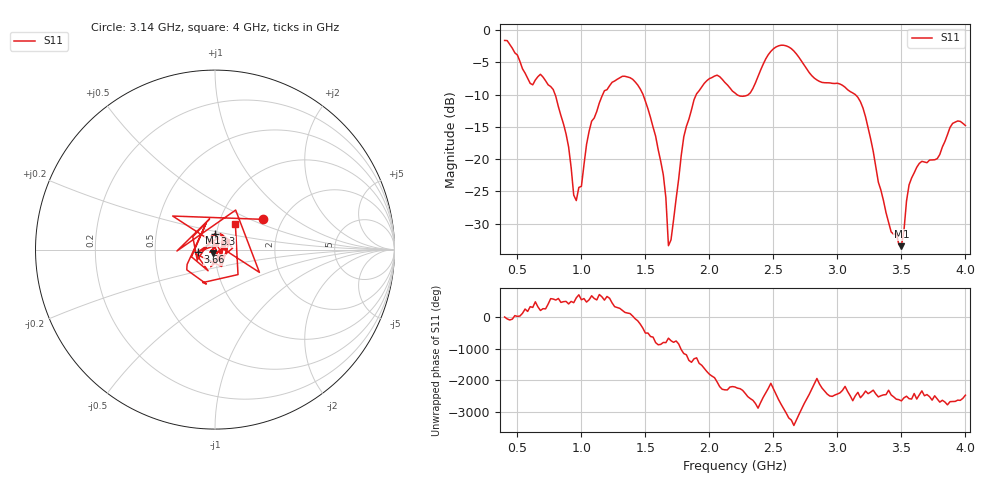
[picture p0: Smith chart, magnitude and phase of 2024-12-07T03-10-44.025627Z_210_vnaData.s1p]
!Created with skrf (http://scikit-rf.org).
# Hz S RI R 50.0
!freq ReS11 ImS11
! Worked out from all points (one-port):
!   181 points, 400 MHz to 4 GHz, reference 50 ohm
!   lowest |S11| = -33.5 dB at 3.5 GHz (marker M1), VSWR 1.04, Z = 48.7 - j1.63 ohm
!   |S11| at or under -10 dB: 794.6 MHz to 1.166 GHz (371.9 MHz wide, 37.9 % of centre); 1.481 GHz to 1.897 GHz (416.1 MHz wide, 24.6 % of centre); 3.14 GHz to end of sweep (the widest 3 of 4)
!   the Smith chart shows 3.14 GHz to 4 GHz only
!   S11 on the Smith chart (normalised r, x): 3.14 GHz: 1.59, +0.60; 3.3 GHz: 0.98, +0.17; 3.66 GHz: 0.83, -0.02; 4 GHz: 1.20, +0.35
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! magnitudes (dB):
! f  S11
! 400 MHz  -1.6
! 600 MHz  -8.3
! 780 MHz  -9.2
! 860 MHz  -14.6
! 960 MHz  -26.4
! 1.08 GHz  -14.1
! 1.3 GHz  -7.4
! 1.44 GHz  -8.5
! 1.54 GHz  -13.6
! 1.64 GHz  -22.5
! 1.68 GHz  -33.4
! 1.76 GHz  -23.1
! 1.8 GHz  -16.5
! 1.9 GHz  -9.9
! 2.06 GHz  -7.0
! 2.2 GHz  -9.8
! 2.32 GHz  -9.7
! 2.52 GHz  -2.6
! 2.66 GHz  -3.3
! 3.1 GHz  -9.5
! 3.14 GHz  -10.0
! 3.22 GHz  -13.5
! 3.3 GHz  -21.2
! 3.42 GHz  -31.3
! 3.5 GHz  -33.5
! 3.56 GHz  -24.0
! 3.66 GHz  -20.3
! 4 GHz  -14.8
